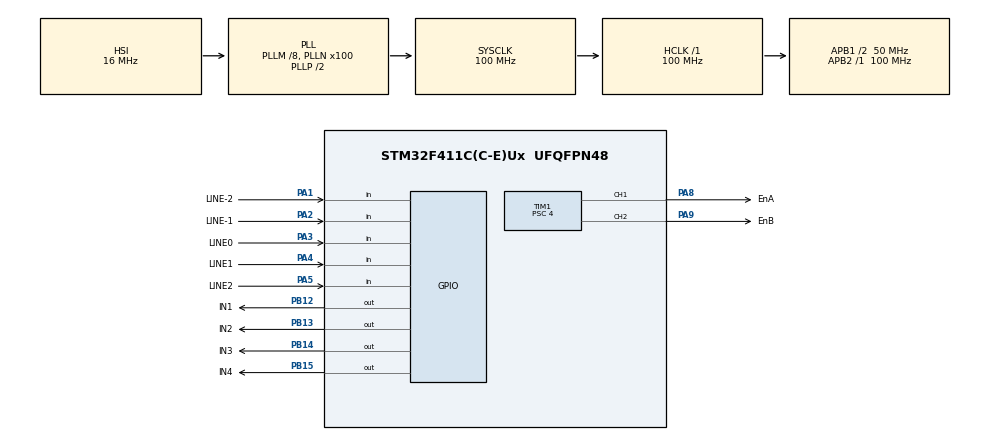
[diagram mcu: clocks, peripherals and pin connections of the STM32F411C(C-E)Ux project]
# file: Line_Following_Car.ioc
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Mcu.Family=STM32F4
Mcu.Name=STM32F411C(C-E)Ux
Mcu.Package=UFQFPN48
NVIC.PriorityGroup=NVIC_PRIORITYGROUP_4
PA1.GPIO_Label=LINE-2
PA1.GPIO_PuPd=GPIO_PULLDOWN
PA1.Signal=GPIO_Input
PA2.GPIO_Label=LINE-1
PA2.GPIO_PuPd=GPIO_PULLDOWN
PA2.Signal=GPIO_Input
PA3.GPIO_Label=LINE0
PA3.GPIO_PuPd=GPIO_PULLDOWN
PA3.Signal=GPIO_Input
PA4.GPIO_Label=LINE1
PA4.GPIO_PuPd=GPIO_PULLDOWN
PA4.Signal=GPIO_Input
PA5.GPIO_Label=LINE2
PA5.GPIO_PuPd=GPIO_PULLDOWN
PA5.Signal=GPIO_Input
PA8.GPIO_Label=EnA
PA8.Signal=S_TIM1_CH1
PA9.GPIO_Label=EnB
PA9.Signal=S_TIM1_CH2
PB12.GPIO_Label=IN1
PB12.Signal=GPIO_Output
PB13.GPIO_Label=IN2
PB13.Signal=GPIO_Output
PB14.GPIO_Label=IN3
PB14.Signal=GPIO_Output
PB15.GPIO_Label=IN4
PB15.Signal=GPIO_Output
ProjectManager.HeapSize=0x200
ProjectManager.StackSize=0x400
ProjectManager.TargetToolchain=STM32CubeIDE
RCC.48MHZClocksFreq_Value=50000000
RCC.AHBFreq_Value=100000000
RCC.APB1CLKDivider=RCC_HCLK_DIV2
RCC.APB1Freq_Value=50000000
RCC.APB1TimFreq_Value=100000000
RCC.APB2Freq_Value=100000000
RCC.APB2TimFreq_Value=100000000
RCC.CortexFreq_Value=100000000
RCC.HCLKFreq_Value=100000000
RCC.HSE_VALUE=25000000
RCC.HSI_VALUE=16000000
RCC.LSE_VALUE=32768
RCC.PLLM=8
RCC.PLLN=100
RCC.SYSCLKFreq_VALUE=100000000
RCC.SYSCLKSource=RCC_SYSCLKSOURCE_PLLCLK
RCC.VCOOutputFreq_Value=200000000
SH.S_TIM1_CH1.0=TIM1_CH1,PWM Generation1 CH1
SH.S_TIM1_CH2.0=TIM1_CH2,PWM Generation2 CH2
TIM1.Channel-PWM\ Generation1\ CH1=TIM_CHANNEL_1
TIM1.Channel-PWM\ Generation2\ CH2=TIM_CHANNEL_2
TIM1.Period=999
TIM1.Prescaler=4
board=custom

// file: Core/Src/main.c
/* USER CODE BEGIN Header */
/**
  ******************************************************************************
  * @file           : main.c
  * @brief          : Main program body
  ******************************************************************************
  * @attention
  *
  * Copyright (c) 2026 STMicroelectronics.
  * All rights reserved.
  *
  * This software is licensed under terms that can be found in the LICENSE file
  * in the root directory of this software component.
  * If no LICENSE file comes with this software, it is provided AS-IS.
  *
  ******************************************************************************
  */
/* USER CODE END Header */
#include "main.h"

TIM_HandleTypeDef htim1;

/* USER CODE BEGIN PV */
int position = 0;
int lastError = 0;
float Kp = 29;
float Ki = 12;
float Kd = 6;
volatile int base_speed = 500;
int errors[10] = {0};
/* USER CODE END PV */

void SystemClock_Config(void);
static void MX_GPIO_Init(void);
static void MX_TIM1_Init(void);
/* USER CODE BEGIN PFP */
void motor_control(int motorspeedl, int motorspeedr);
void PID_Val(void);
void PIDCalc(void);
/* USER CODE END PFP */

/* USER CODE BEGIN 0 */
int QTR8_read(){
	int value = 0;
	value |= HAL_GPIO_ReadPin(LINE_2_GPIO_Port, LINE_2_Pin) << 4;
	value |= HAL_GPIO_ReadPin(LINE_1_GPIO_Port, LINE_1_Pin) << 3;
	value |= HAL_GPIO_ReadPin(LINE0_GPIO_Port, LINE0_Pin) << 2; // Điểm giữa
	value |= HAL_GPIO_ReadPin(LINE1_GPIO_Port, LINE1_Pin) << 1;
	value |= HAL_GPIO_ReadPin(LINE2_GPIO_Port, LINE2_Pin) << 0;
	return value;
	// Xong hàm ta sẽ có giá trị 5 bit đại diện cho trạng thái của 5 cảm biến, từ trái qua phải
}

void PID_Val(){
	int sensor_status = QTR8_read();
	switch(sensor_status) {
	    case 0b11011:
	    	position = 0; // Vạch giữa
	        break;
	    case 0b11110:
	    	position = -1000;
	        break;
	    case 0b11101:
	    	position = -500;
	        break;
	    case 0b10111:
	    	position = 500;
	        break;
	    case 0b01111:
	    	position = 1000;
	        break;
	    case 0b00000:
	    	position = 1803; // Robot đang lơ lửng, không cho chạy
	        break;
	    default:
	    	break;
	}
}

void past_errors(int err) {
	for (int i = 9; i > 0; i--) {
		errors[i] = errors[i - 1];
	}
	errors[0] = err;
}

int errors_sum(int index) {
	int sum = 0;
	for (int i = 0; i < index; i++) {
		sum += errors[i];
	}
	return sum;
}

void PIDCalc(){
	PID_Val();
	if (position == 0) {
		__HAL_TIM_SetCompare(&htim1, TIM_CHANNEL_1, 750);
		__HAL_TIM_SetCompare(&htim1, TIM_CHANNEL_2, 750);
	}else if (position >= -1000 && position <= 1000){
	int error = position;
	past_errors(error);

	int P = error;
	int I = errors_sum(5);
	int D = error - lastError;
	lastError = error;

	int motorspeed = P*Kp + I*Ki + D*Kd;
	int motorspeedl = base_speed + motorspeed;
	int motorspeedr = base_speed - motorspeed;
	motorspeed = P*Kp + I*Ki + D*Kd;
	motorspeedl = base_speed + motorspeed;
	motorspeedr = base_speed - motorspeed;

	motor_control(motorspeedl, motorspeedr);
		}else{
			__HAL_TIM_SetCompare(&htim1, TIM_CHANNEL_1, 0);
			__HAL_TIM_SetCompare(&htim1, TIM_CHANNEL_2, 0);
		}
}
void motor_control(int motorspeedl, int motorspeedr){
	if (motorspeedl > 600) motorspeedl = 800;
	if (motorspeedl < 0) motorspeedl = 400;
	if (motorspeedr > 600) motorspeedr = 800;
	if (motorspeedr < 0) motorspeedr = 400;

	__HAL_TIM_SetCompare(&htim1, TIM_CHANNEL_1, motorspeedl);
	__HAL_TIM_SetCompare(&htim1, TIM_CHANNEL_2, motorspeedr);
}
/* USER CODE END 0 */

int main(void)
{

  /* MCU Configuration--------------------------------------------------------*/

  /* Reset of all peripherals, Initializes the Flash interface and the Systick. */
  HAL_Init();

  /* Configure the system clock */
  SystemClock_Config();

  /* Initialize all configured peripherals */
  MX_GPIO_Init();
  MX_TIM1_Init();
  /* USER CODE BEGIN 2 */
HAL_TIM_PWM_Start(&htim1, TIM_CHANNEL_1);
HAL_TIM_PWM_Start(&htim1, TIM_CHANNEL_2);
HAL_GPIO_WritePin(IN1_GPIO_Port, IN1_Pin, GPIO_PIN_RESET);
HAL_GPIO_WritePin(IN2_GPIO_Port, IN2_Pin, GPIO_PIN_SET);
HAL_GPIO_WritePin(IN3_GPIO_Port, IN3_Pin, GPIO_PIN_SET);
HAL_GPIO_WritePin(IN4_GPIO_Port, IN4_Pin, GPIO_PIN_RESET);
  /* USER CODE END 2 */

  /* Infinite loop */
  /* USER CODE BEGIN WHILE */
  while (1)
  {
	  PIDCalc();
	  HAL_Delay(1); // Delay 10ms để tránh việc tính toán quá nhanh
    /* USER CODE END WHILE */

  }
}

void SystemClock_Config(void)
{
  RCC_OscInitTypeDef RCC_OscInitStruct = {0};
  RCC_ClkInitTypeDef RCC_ClkInitStruct = {0};

  /** Configure the main internal regulator output voltage
  */
  __HAL_RCC_PWR_CLK_ENABLE();
  __HAL_PWR_VOLTAGESCALING_CONFIG(PWR_REGULATOR_VOLTAGE_SCALE1);

  /** Initializes the RCC Oscillators according to the specified parameters
  * in the RCC_OscInitTypeDef structure.
  */
  RCC_OscInitStruct.OscillatorType = RCC_OSCILLATORTYPE_HSI;
  RCC_OscInitStruct.HSIState = RCC_HSI_ON;
  RCC_OscInitStruct.HSICalibrationValue = RCC_HSICALIBRATION_DEFAULT;
  RCC_OscInitStruct.PLL.PLLState = RCC_PLL_ON;
  RCC_OscInitStruct.PLL.PLLSource = RCC_PLLSOURCE_HSI;
  RCC_OscInitStruct.PLL.PLLM = 8;
  RCC_OscInitStruct.PLL.PLLN = 100;
  RCC_OscInitStruct.PLL.PLLP = RCC_PLLP_DIV2;
  RCC_OscInitStruct.PLL.PLLQ = 4;
  if (HAL_RCC_OscConfig(&RCC_OscInitStruct) != HAL_OK)
  {
    Error_Handler();
  }

  /** Initializes the CPU, AHB and APB buses clocks
  */
  RCC_ClkInitStruct.ClockType = RCC_CLOCKTYPE_HCLK|RCC_CLOCKTYPE_SYSCLK
                              |RCC_CLOCKTYPE_PCLK1|RCC_CLOCKTYPE_PCLK2;
  RCC_ClkInitStruct.SYSCLKSource = RCC_SYSCLKSOURCE_PLLCLK;
  RCC_ClkInitStruct.AHBCLKDivider = RCC_SYSCLK_DIV1;
  RCC_ClkInitStruct.APB1CLKDivider = RCC_HCLK_DIV2;
  RCC_ClkInitStruct.APB2CLKDivider = RCC_HCLK_DIV1;

  if (HAL_RCC_ClockConfig(&RCC_ClkInitStruct, FLASH_LATENCY_3) != HAL_OK)
  {
    Error_Handler();
  }
}

static void MX_TIM1_Init(void)
{

  TIM_MasterConfigTypeDef sMasterConfig = {0};
  TIM_OC_InitTypeDef sConfigOC = {0};
  TIM_BreakDeadTimeConfigTypeDef sBreakDeadTimeConfig = {0};

  htim1.Instance = TIM1;
  htim1.Init.Prescaler = 4;
  htim1.Init.CounterMode = TIM_COUNTERMODE_UP;
  htim1.Init.Period = 999;
  htim1.Init.ClockDivision = TIM_CLOCKDIVISION_DIV1;
  htim1.Init.RepetitionCounter = 0;
  htim1.Init.AutoReloadPreload = TIM_AUTORELOAD_PRELOAD_DISABLE;
  if (HAL_TIM_PWM_Init(&htim1) != HAL_OK)
  {
    Error_Handler();
  }
  sMasterConfig.MasterOutputTrigger = TIM_TRGO_RESET;
  sMasterConfig.MasterSlaveMode = TIM_MASTERSLAVEMODE_DISABLE;
  if (HAL_TIMEx_MasterConfigSynchronization(&htim1, &sMasterConfig) != HAL_OK)
  {
    Error_Handler();
  }
  sConfigOC.OCMode = TIM_OCMODE_PWM1;
  sConfigOC.Pulse = 0;
  sConfigOC.OCPolarity = TIM_OCPOLARITY_HIGH;
  sConfigOC.OCNPolarity = TIM_OCNPOLARITY_HIGH;
  sConfigOC.OCFastMode = TIM_OCFAST_DISABLE;
  sConfigOC.OCIdleState = TIM_OCIDLESTATE_RESET;
  sConfigOC.OCNIdleState = TIM_OCNIDLESTATE_RESET;
  if (HAL_TIM_PWM_ConfigChannel(&htim1, &sConfigOC, TIM_CHANNEL_1) != HAL_OK)
  {
    Error_Handler();
  }
  if (HAL_TIM_PWM_ConfigChannel(&htim1, &sConfigOC, TIM_CHANNEL_2) != HAL_OK)
  {
    Error_Handler();
  }
  sBreakDeadTimeConfig.OffStateRunMode = TIM_OSSR_DISABLE;
  sBreakDeadTimeConfig.OffStateIDLEMode = TIM_OSSI_DISABLE;
  sBreakDeadTimeConfig.LockLevel = TIM_LOCKLEVEL_OFF;
  sBreakDeadTimeConfig.DeadTime = 0;
  sBreakDeadTimeConfig.BreakState = TIM_BREAK_DISABLE;
  sBreakDeadTimeConfig.BreakPolarity = TIM_BREAKPOLARITY_HIGH;
  sBreakDeadTimeConfig.AutomaticOutput = TIM_AUTOMATICOUTPUT_DISABLE;
  if (HAL_TIMEx_ConfigBreakDeadTime(&htim1, &sBreakDeadTimeConfig) != HAL_OK)
  {
    Error_Handler();
  }
  HAL_TIM_MspPostInit(&htim1);

}

static void MX_GPIO_Init(void)
{
  GPIO_InitTypeDef GPIO_InitStruct = {0};

  /* GPIO Ports Clock Enable */
  __HAL_RCC_GPIOA_CLK_ENABLE();
  __HAL_RCC_GPIOB_CLK_ENABLE();

  /*Configure GPIO pin Output Level */
  HAL_GPIO_WritePin(GPIOB, IN1_Pin|IN2_Pin|IN3_Pin|IN4_Pin, GPIO_PIN_RESET);

  /*Configure GPIO pins : LINE_2_Pin LINE_1_Pin LINE0_Pin LINE1_Pin
                           LINE2_Pin */
  GPIO_InitStruct.Pin = LINE_2_Pin|LINE_1_Pin|LINE0_Pin|LINE1_Pin
                          |LINE2_Pin;
  GPIO_InitStruct.Mode = GPIO_MODE_INPUT;
  GPIO_InitStruct.Pull = GPIO_PULLDOWN;
  HAL_GPIO_Init(GPIOA, &GPIO_InitStruct);

  /*Configure GPIO pins : IN1_Pin IN2_Pin IN3_Pin IN4_Pin */
  GPIO_InitStruct.Pin = IN1_Pin|IN2_Pin|IN3_Pin|IN4_Pin;
  GPIO_InitStruct.Mode = GPIO_MODE_OUTPUT_PP;
  GPIO_InitStruct.Pull = GPIO_NOPULL;
  GPIO_InitStruct.Speed = GPIO_SPEED_FREQ_LOW;
  HAL_GPIO_Init(GPIOB, &GPIO_InitStruct);

}

void Error_Handler(void)
{
  __disable_irq();
  while (1)
  {
  }
}
